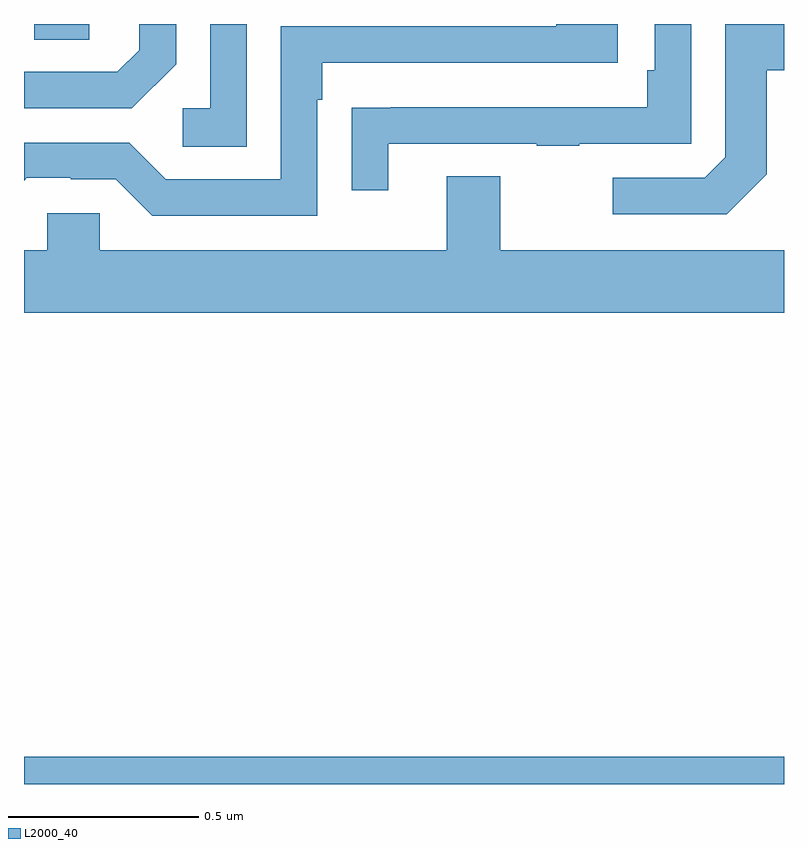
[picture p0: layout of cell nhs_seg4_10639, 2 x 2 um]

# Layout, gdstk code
import gdstk
lib = gdstk.Library(unit=1e-6, precision=1e-09)
def R(c, l, rs):  # rectangles x0, y0, x1, y1
    for r in rs: c.add(gdstk.rectangle(r[:2], r[2:], *l))
def P(c, l, *ps):  # polygons
    for p in ps: c.add(gdstk.Polygon(p, *l))
L2000_40 = (2000, 40)

nhs_seg4_10639 = lib.new_cell('nhs_seg4_10639')
R(nhs_seg4_10639, L2000_40, [(242,808.9,244,808.972), (242.027,810.859,242.172,810.9)])
P(nhs_seg4_10639, L2000_40, [(242.4,810.794),(242.4,810.9),(242.303,810.9),(242.303,810.831),(242.246,810.774),(242,810.774),(242,810.678),(242.284,810.678)],
  [(243.955,810.505),(243.955,810.778),(244,810.778),(244,810.9),(243.846,810.9),(243.846,810.549),(243.792,810.495),(243.549,810.495),(243.549,810.399),(243.849,810.399)],
  [(242.586,810.9),(242.49,810.9),(242.49,810.678),(242.418,810.678),(242.418,810.577),(242.586,810.577)],
  [(242.772,810.701),(242.785,810.701),(242.785,810.798),(243.562,810.798),(243.562,810.9),(243.401,810.9),(243.401,810.894),(242.676,810.894),(242.676,810.492),(242.373,810.492),(242.277,810.588),(242,810.588),(242,810.488),(242.007,810.495),(242.123,810.495),(242.123,810.492),(242.241,810.492),(242.337,810.396),(242.772,810.396)],
  [(242.959,810.585),(243.349,810.585),(243.349,810.58),(243.461,810.58),(243.461,810.585),(243.756,810.585),(243.756,810.9),(243.66,810.9),(243.66,810.778),(243.64,810.778),(243.64,810.681),(242.965,810.681),(242.965,810.68),(242.863,810.68),(242.863,810.462),(242.959,810.462)],
  [(244,810.304),(243.253,810.304),(243.253,810.499),(243.113,810.499),(243.113,810.304),(242.199,810.304),(242.199,810.402),(242.061,810.402),(242.061,810.304),(242,810.304),(242,810.14),(244,810.14)])

lib.write_gds('nhs_seg4_10639.gds')
